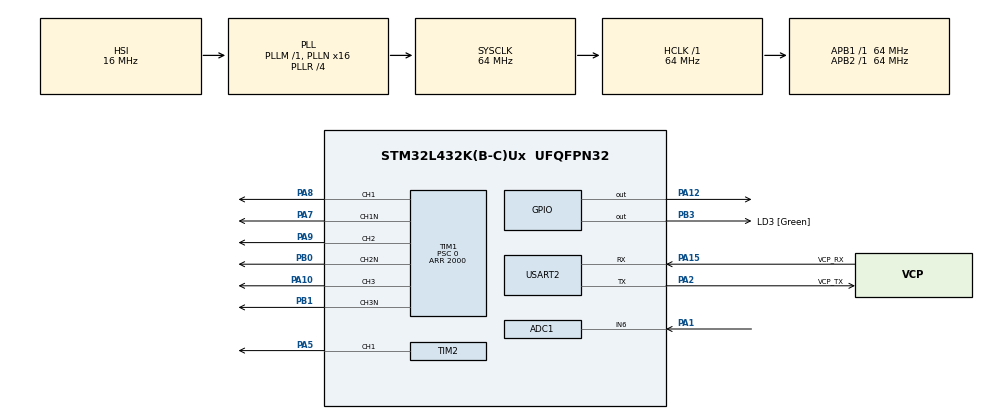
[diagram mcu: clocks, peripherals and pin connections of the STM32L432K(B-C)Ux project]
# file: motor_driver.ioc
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ADC1.Channel-1\#ChannelRegularConversion=ADC_CHANNEL_6
ADC1.NbrOfConversionFlag=1
ADC1.OffsetNumber-1\#ChannelRegularConversion=ADC_OFFSET_NONE
ADC1.Rank-1\#ChannelRegularConversion=1
ADC1.SamplingTime-1\#ChannelRegularConversion=ADC_SAMPLETIME_2CYCLES_5
ADC1.master=1
Dma.Request0=USART2_RX
Dma.USART2_RX.0.Direction=DMA_PERIPH_TO_MEMORY
Dma.USART2_RX.0.Instance=DMA1_Channel6
Dma.USART2_RX.0.MemDataAlignment=DMA_MDATAALIGN_BYTE
Dma.USART2_RX.0.MemInc=DMA_MINC_ENABLE
Dma.USART2_RX.0.Mode=DMA_CIRCULAR
Dma.USART2_RX.0.PeriphDataAlignment=DMA_PDATAALIGN_BYTE
Dma.USART2_RX.0.PeriphInc=DMA_PINC_DISABLE
Dma.USART2_RX.0.Priority=DMA_PRIORITY_LOW
Mcu.Family=STM32L4
Mcu.Name=STM32L432K(B-C)Ux
Mcu.Package=UFQFPN32
NVIC.DMA1_Channel6_IRQn=true\:0\:0\:false\:false\:true\:false\:true\:true
NVIC.PriorityGroup=NVIC_PRIORITYGROUP_4
NVIC.TIM2_IRQn=true\:0\:0\:false\:false\:true\:true\:true\:true
NVIC.USART2_IRQn=true\:0\:0\:false\:false\:true\:true\:true\:true
PA0.GPIO_Label=MCO [High speed clock in]
PA0.Mode=HSE-External-Clock-Source-for-LittleOrca
PA0.Signal=RCC_CK_IN
PA1.Signal=ADCx_IN6
PA10.Signal=S_TIM1_CH3
PA12.Signal=GPIO_Output
PA13\ (JTMS-SWDIO).GPIO_Label=SWDIO
PA13\ (JTMS-SWDIO).Mode=Serial_Wire
PA13\ (JTMS-SWDIO).Signal=SYS_JTMS-SWDIO
PA14\ (JTCK-SWCLK).GPIO_Label=SWCLK
PA14\ (JTCK-SWCLK).Mode=Serial_Wire
PA14\ (JTCK-SWCLK).Signal=SYS_JTCK-SWCLK
PA15\ (JTDI).GPIO_Label=VCP_RX
PA15\ (JTDI).Mode=Asynchronous
PA15\ (JTDI).Signal=USART2_RX
PA2.GPIO_Label=VCP_TX
PA2.Mode=Asynchronous
PA2.Signal=USART2_TX
PA5.Signal=S_TIM2_CH1
PA7.Mode=PWM Generation1 CH1 CH1N
PA7.Signal=TIM1_CH1N
PA8.Signal=S_TIM1_CH1
PA9.Signal=S_TIM1_CH2
PB0.Mode=PWM Generation2 CH2 CH2N
PB0.Signal=TIM1_CH2N
PB1.Mode=PWM Generation3 CH3 CH3N
PB1.Signal=TIM1_CH3N
PB3\ (JTDO-TRACESWO).GPIO_Label=LD3 [Green]
PB3\ (JTDO-TRACESWO).PinState=GPIO_PIN_RESET
PB3\ (JTDO-TRACESWO).Signal=GPIO_Output
PC14-OSC32_IN\ (PC14).Mode=LSE-External-Oscillator
PC14-OSC32_IN\ (PC14).Signal=RCC_OSC32_IN
PC15-OSC32_OUT\ (PC15).Mode=LSE-External-Oscillator
PC15-OSC32_OUT\ (PC15).Signal=RCC_OSC32_OUT
ProjectManager.HeapSize=0x200
ProjectManager.StackSize=0x400
ProjectManager.TargetToolchain=STM32CubeIDE
RCC.ADCFreq_Value=64000000
RCC.AHBFreq_Value=64000000
RCC.APB1Freq_Value=64000000
RCC.APB1TimFreq_Value=64000000
RCC.APB2Freq_Value=64000000
RCC.APB2TimFreq_Value=64000000
RCC.CortexFreq_Value=64000000
RCC.HCLKFreq_Value=64000000
RCC.HSE_VALUE=8000000
RCC.HSI16_VALUE=16000000
RCC.HSI48_VALUE=48000000
RCC.HSI_VALUE=16000000
RCC.MSI_VALUE=4000000
RCC.PLLMUL=RCC_PLLMUL_4
RCC.PLLN=16
RCC.PLLR=RCC_PLLR_DIV4
RCC.PLLSourceVirtual=RCC_PLLSOURCE_HSI
RCC.SYSCLKFreq_VALUE=64000000
RCC.SYSCLKSource=RCC_SYSCLKSOURCE_PLLCLK
RCC.USBFreq_Value=64000000
RCC.VCOOutputFreq_Value=256000000
SH.ADCx_IN6.0=ADC1_IN6,IN6-Single-Ended
SH.S_TIM1_CH1.0=TIM1_CH1,PWM Generation1 CH1 CH1N
SH.S_TIM1_CH2.0=TIM1_CH2,PWM Generation2 CH2 CH2N
SH.S_TIM1_CH3.0=TIM1_CH3,PWM Generation3 CH3 CH3N
SH.S_TIM2_CH1.0=TIM2_CH1,Output Compare1 CH1
TIM1.Channel-PWM\ Generation1\ CH1\ CH1N=TIM_CHANNEL_1
TIM1.Channel-PWM\ Generation2\ CH2\ CH2N=TIM_CHANNEL_2
TIM1.Channel-PWM\ Generation3\ CH3\ CH3N=TIM_CHANNEL_3
TIM1.OCFastMode_PWM-PWM\ Generation1\ CH1\ CH1N=TIM_OCFAST_ENABLE
TIM1.OCFastMode_PWM-PWM\ Generation2\ CH2\ CH2N=TIM_OCFAST_ENABLE
TIM1.OCFastMode_PWM-PWM\ Generation3\ CH3\ CH3N=TIM_OCFAST_ENABLE
TIM1.OCNIdleState_1=TIM_OCNIDLESTATE_RESET
TIM1.OCNPolarity_1=TIM_OCNPOLARITY_LOW
TIM1.OCNPolarity_2=TIM_OCNPOLARITY_LOW
TIM1.OCNPolarity_3=TIM_OCNPOLARITY_LOW
TIM1.OCPolarity_1=TIM_OCPOLARITY_HIGH
TIM1.OCPolarity_2=TIM_OCPOLARITY_HIGH
TIM1.Period=2000
TIM1.Prescaler=0
TIM2.Channel-Output\ Compare1\ CH1=TIM_CHANNEL_1
TIM2.OCMode_1=TIM_OCMODE_TOGGLE
TIM2.Period=2000
TIM2.Prescaler=0
USART2.VirtualMode-Asynchronous=VM_ASYNC
VP_TIM1_VS_ClockSourceINT.Mode=Internal
VP_TIM2_VS_ClockSourceINT.Mode=Internal
board=NUCLEO-L432KC

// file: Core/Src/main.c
/* USER CODE BEGIN Header */
/**
 ******************************************************************************
 * @file           : main.c
 * @brief          : Main program body
 ******************************************************************************
 * @attention
 *
 * Copyright (c) 2024 STMicroelectronics.
 * All rights reserved.
 *
 * This software is licensed under terms that can be found in the LICENSE file
 * in the root directory of this software component.
 * If no LICENSE file comes with this software, it is provided AS-IS.
 *
 ******************************************************************************
 */
/* USER CODE END Header */
#include "main.h"
#include "adc.h"
#include "dma.h"
#include "tim.h"
#include "usart.h"
#include "gpio.h"

/* USER CODE BEGIN Includes */
#include <math.h>
#include <string.h>
#include <stdio.h>
#include <stdint.h>

#include "ugo_sine.h"

/* USER CODE END Includes */

/* USER CODE BEGIN PV */
int sine1_idx = 0;
int sine2_idx = 107;
int sine3_idx = 211;

int pwm_on = 1;
int pwmn_on = 0;

int pwm_on2 = 0;
int pwmn_on2 = 1;

int pwm_on3 = 1;
int pwmn_on3 = 0;

/* USER CODE END PV */

void SystemClock_Config(void);

/* USER CODE BEGIN 0 */
long adc_raw;
long tim_val;
char buff[50] = {};

#define ADC_MAX 4095.0f

float temp(float adc_val){
    float R_NTC;
    float R_1 = 1000.0f;
    float volts = (adc_val/ADC_MAX) * 3.3f;
    //printf("volts: %f\n", volts);

    R_NTC = (volts*R_1) / (3.3f - volts);
    //printf("Rntc: %f\n", R_NTC);

    float steinhart = R_NTC/4700.0f;
    float temperature = log(steinhart);
    temperature /= 3950.0f;
    temperature += 1.0 / (273.15f + 25.0f);
    temperature = 1.0f / temperature;
    temperature -= 273.15;
    return temperature;
}

/* USER CODE END 0 */

int main(void)
{

  /* MCU Configuration--------------------------------------------------------*/

  /* Reset of all peripherals, Initializes the Flash interface and the Systick. */
  HAL_Init();

  /* Configure the system clock */
  SystemClock_Config();

  /* Initialize all configured peripherals */
  MX_GPIO_Init();
  MX_DMA_Init();
  MX_USART2_UART_Init();
  MX_TIM1_Init();
  MX_TIM2_Init();
  MX_ADC1_Init();
  /* USER CODE BEGIN 2 */
  HAL_TIM_PWM_Start(&htim1, TIM_CHANNEL_1);
  HAL_TIM_PWM_Start(&htim1, TIM_CHANNEL_2);
  HAL_TIM_PWM_Start(&htim1, TIM_CHANNEL_3);

  HAL_TIMEx_PWMN_Start(&htim1, TIM_CHANNEL_1);
  HAL_TIMEx_PWMN_Start(&htim1, TIM_CHANNEL_2);
  HAL_TIMEx_PWMN_Start(&htim1, TIM_CHANNEL_3);

  HAL_TIM_OC_Start(&htim2, TIM_CHANNEL_1);
  HAL_TIM_Base_Start_IT(&htim2);

  /* USER CODE END 2 */

  /* Infinite loop */
  /* USER CODE BEGIN WHILE */

  while (1)
  {
	  HAL_ADC_Start(&hadc1);
	  HAL_ADC_PollForConversion(&hadc1, 1000);
	  adc_raw = HAL_ADC_GetValue(&hadc1);
	  //uint16_t temp_raw = (int)(100 * temp(adc_raw));
	  float temp_raw = temp(adc_raw);
	  //sprintf(buff, "temp: %d\r\n %d\r\n", temp_raw, adc_raw);
	  sprintf(buff, "temp: %f\r\n %d\r\n", temp_raw, adc_raw);
	  HAL_UART_Transmit(&huart2, buff, sizeof(buff), 1000);
	  HAL_Delay(100);
// VARIABLE FREQUENCY CODE
//	  HAL_ADC_Start(&hadc1);
//	  HAL_ADC_PollForConversion(&hadc1, 1000);
//	  adc_raw = HAL_ADC_GetValue(&hadc1);
//	  tim_val = uu_map(adc_raw, 0, 4095, 200, 2000);
//	  TIM2->ARR = tim_val;
//	  TIM2->EGR |= 1 <<(TIM_EGR_UG_Pos);
//
//	  sprintf(buff, "adc: %d\r\n", adc_raw);
//	  HAL_UART_Transmit(&huart2, buff, sizeof(buff), 1000);
//
//	  sprintf(buff, "map: %d\r\n\n", tim_val);
//	  HAL_UART_Transmit(&huart2, buff, sizeof(buff), 1000);
//
//	  HAL_Delay(100);

    /* USER CODE END WHILE */

  }
}

void SystemClock_Config(void)
{
  RCC_OscInitTypeDef RCC_OscInitStruct = {0};
  RCC_ClkInitTypeDef RCC_ClkInitStruct = {0};

  /** Configure the main internal regulator output voltage
  */
  if (HAL_PWREx_ControlVoltageScaling(PWR_REGULATOR_VOLTAGE_SCALE1) != HAL_OK)
  {
    Error_Handler();
  }

  /** Initializes the RCC Oscillators according to the specified parameters
  * in the RCC_OscInitTypeDef structure.
  */
  RCC_OscInitStruct.OscillatorType = RCC_OSCILLATORTYPE_HSI;
  RCC_OscInitStruct.HSIState = RCC_HSI_ON;
  RCC_OscInitStruct.HSICalibrationValue = RCC_HSICALIBRATION_DEFAULT;
  RCC_OscInitStruct.PLL.PLLState = RCC_PLL_ON;
  RCC_OscInitStruct.PLL.PLLSource = RCC_PLLSOURCE_HSI;
  RCC_OscInitStruct.PLL.PLLM = 1;
  RCC_OscInitStruct.PLL.PLLN = 16;
  RCC_OscInitStruct.PLL.PLLP = RCC_PLLP_DIV7;
  RCC_OscInitStruct.PLL.PLLQ = RCC_PLLQ_DIV2;
  RCC_OscInitStruct.PLL.PLLR = RCC_PLLR_DIV4;
  if (HAL_RCC_OscConfig(&RCC_OscInitStruct) != HAL_OK)
  {
    Error_Handler();
  }

  /** Initializes the CPU, AHB and APB buses clocks
  */
  RCC_ClkInitStruct.ClockType = RCC_CLOCKTYPE_HCLK|RCC_CLOCKTYPE_SYSCLK
                              |RCC_CLOCKTYPE_PCLK1|RCC_CLOCKTYPE_PCLK2;
  RCC_ClkInitStruct.SYSCLKSource = RCC_SYSCLKSOURCE_PLLCLK;
  RCC_ClkInitStruct.AHBCLKDivider = RCC_SYSCLK_DIV1;
  RCC_ClkInitStruct.APB1CLKDivider = RCC_HCLK_DIV1;
  RCC_ClkInitStruct.APB2CLKDivider = RCC_HCLK_DIV1;

  if (HAL_RCC_ClockConfig(&RCC_ClkInitStruct, FLASH_LATENCY_3) != HAL_OK)
  {
    Error_Handler();
  }
}

/* USER CODE BEGIN 4 */

// Callback: timer has rolled over
void HAL_TIM_PeriodElapsedCallback(TIM_HandleTypeDef *htim)
{
	HAL_GPIO_WritePin(LD3_GPIO_Port, LD3_Pin, GPIO_PIN_SET);
  // Check which version of the timer triggered this callback and toggle LED
  if (htim == &htim2)
  {
    sine1_idx++;
    sine2_idx++;
    sine3_idx++;

    // Overflow
    if (sine1_idx > 319)
    {
      // Reset
      sine1_idx = 0;
      // Toggle phases
      pwm_on = !pwm_on;
      pwmn_on = !pwmn_on;

      // Channel 1
      if (pwm_on)
      {
        HAL_TIM_PWM_Start(&htim1, TIM_CHANNEL_1);
        HAL_TIMEx_PWMN_Stop(&htim1, TIM_CHANNEL_1);
      }
      else
      {
        HAL_TIM_PWM_Stop(&htim1, TIM_CHANNEL_1);
        HAL_TIMEx_PWMN_Start(&htim1, TIM_CHANNEL_1);
      }
    }
    TIM1->CCR1 = sine_vals[sine1_idx];

    if (sine2_idx > 319)
    {
      sine2_idx = 0;
      pwm_on2 = !pwm_on2;
      pwmn_on2 = !pwmn_on2;

      // Channel 2
      if (pwm_on2)
      {
        HAL_TIM_PWM_Start(&htim1, TIM_CHANNEL_2);
        HAL_TIMEx_PWMN_Stop(&htim1, TIM_CHANNEL_2);
      }
      else
      {
        HAL_TIM_PWM_Stop(&htim1, TIM_CHANNEL_2);
        HAL_TIMEx_PWMN_Start(&htim1, TIM_CHANNEL_2);
      }
    }
    TIM1->CCR2 = sine_vals[sine2_idx];
    //return;

    if (sine3_idx > 319)
    {
      sine3_idx = 0;
      pwm_on3 = !pwm_on3;
      pwmn_on3 = !pwmn_on3;

      // Channel 3
      if (pwm_on3)
      {
        HAL_TIM_PWM_Start(&htim1, TIM_CHANNEL_3);
        HAL_TIMEx_PWMN_Stop(&htim1, TIM_CHANNEL_3);
      }
      else
      {
        HAL_TIM_PWM_Stop(&htim1, TIM_CHANNEL_3);
        HAL_TIMEx_PWMN_Start(&htim1, TIM_CHANNEL_3);
      }
    }
    TIM1->CCR3 = sine_vals[sine3_idx];
  }
  HAL_GPIO_WritePin(LD3_GPIO_Port, LD3_Pin, GPIO_PIN_RESET);
}
/* USER CODE END 4 */

void Error_Handler(void)
{
  /* USER CODE BEGIN Error_Handler_Debug */
  /* User can add his own implementation to report the HAL error return state */
  __disable_irq();
  char err_buff[50] = {};
  while (1)
  {
	  sprintf(err_buff, "ERROR\r\n");
	  HAL_UART_Transmit(&huart2, err_buff, sizeof(err_buff), 1000);
  }
  /* USER CODE END Error_Handler_Debug */
}
